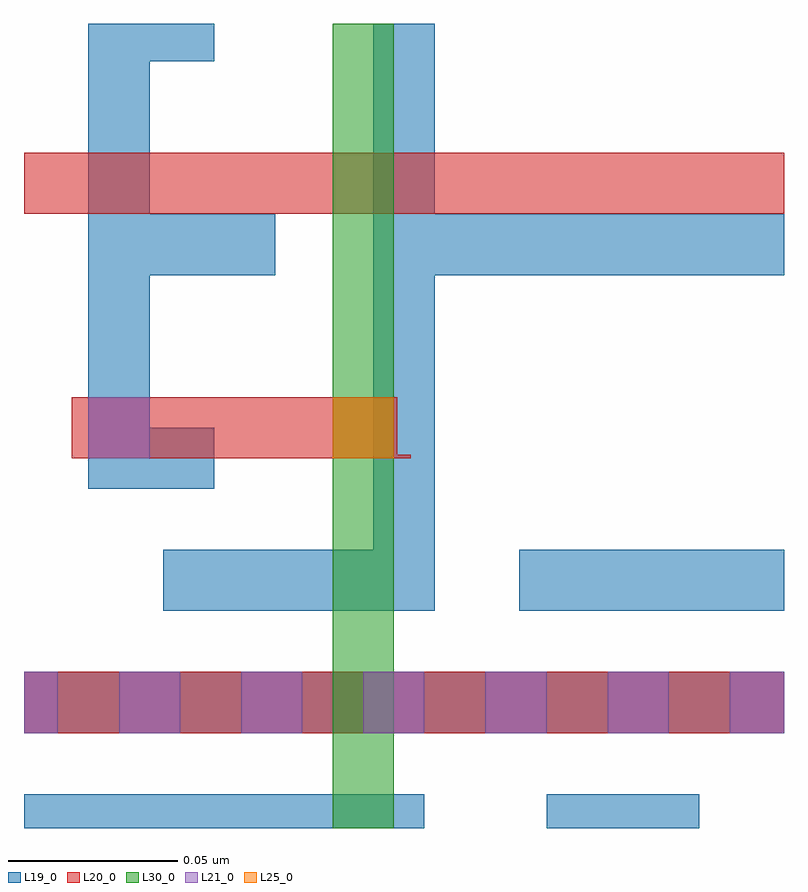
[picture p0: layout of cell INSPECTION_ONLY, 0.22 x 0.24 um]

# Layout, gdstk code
import gdstk
lib = gdstk.Library(unit=1e-6, precision=2.5e-10)
def R(c, l, rs):  # rectangles x0, y0, x1, y1
    for r in rs: c.add(gdstk.rectangle(r[:2], r[2:], *l))
def A(c, l, x, y, w, h, nx, ny, dx, dy):  # array of equal rectangles
    R(c, l, [(x+i*dx, y+j*dy, x+i*dx+w, y+j*dy+h) for i in range(nx) for j in range(ny)])
def P(c, l, *ps):  # polygons
    for p in ps: c.add(gdstk.Polygon(p, *l))
L19_0 = (19, 0)
L20_0 = (20, 0)
L21_0 = (21, 0)
L25_0 = (25, 0)
L30_0 = (30, 0)

inspection_only = lib.new_cell('INSPECTION_ONLY')
R(inspection_only, L19_0, [(5.345,9.143,5.463,9.153), (5.499,9.143,5.544,9.153), (5.345,9.171,5.569,9.189), (5.345,9.171,5.569,9.189), (5.345,9.171,5.346,9.189), (5.345,9.171,5.562,9.189), (5.346,9.171,5.569,9.189), (5.562,9.171,5.569,9.189), (5.491,9.207,5.569,9.225), (5.364,9.25,5.382,9.272)])
P(inspection_only, L19_0, [(5.386,9.207),(5.386,9.225),(5.448,9.225),(5.448,9.38),(5.466,9.38),(5.466,9.324),(5.569,9.324),(5.569,9.306),(5.466,9.306),(5.466,9.207)],
  [(5.364,9.243),(5.364,9.38),(5.401,9.38),(5.401,9.369),(5.382,9.369),(5.382,9.324),(5.419,9.324),(5.419,9.306),(5.382,9.306),(5.382,9.261),(5.401,9.261),(5.401,9.243)])
R(inspection_only, L20_0, [(5.345,9.171,5.569,9.189), (5.345,9.324,5.569,9.342)])
P(inspection_only, L20_0, [(5.359,9.252),(5.359,9.27),(5.455,9.27),(5.455,9.253),(5.459,9.253),(5.459,9.252)])
A(inspection_only, L21_0, 5.373, 9.171, 0.018, 0.018, 5, 1, 0.036, 0)
R(inspection_only, L21_0, [(5.345,9.171,5.355,9.189), (5.553,9.171,5.569,9.189), (5.364,9.252,5.382,9.27)])
R(inspection_only, L25_0, [(5.436,9.252,5.454,9.27)])
R(inspection_only, L30_0, [(5.436,9.143,5.454,9.38)])

lib.write_gds('INSPECTION_ONLY.gds')
